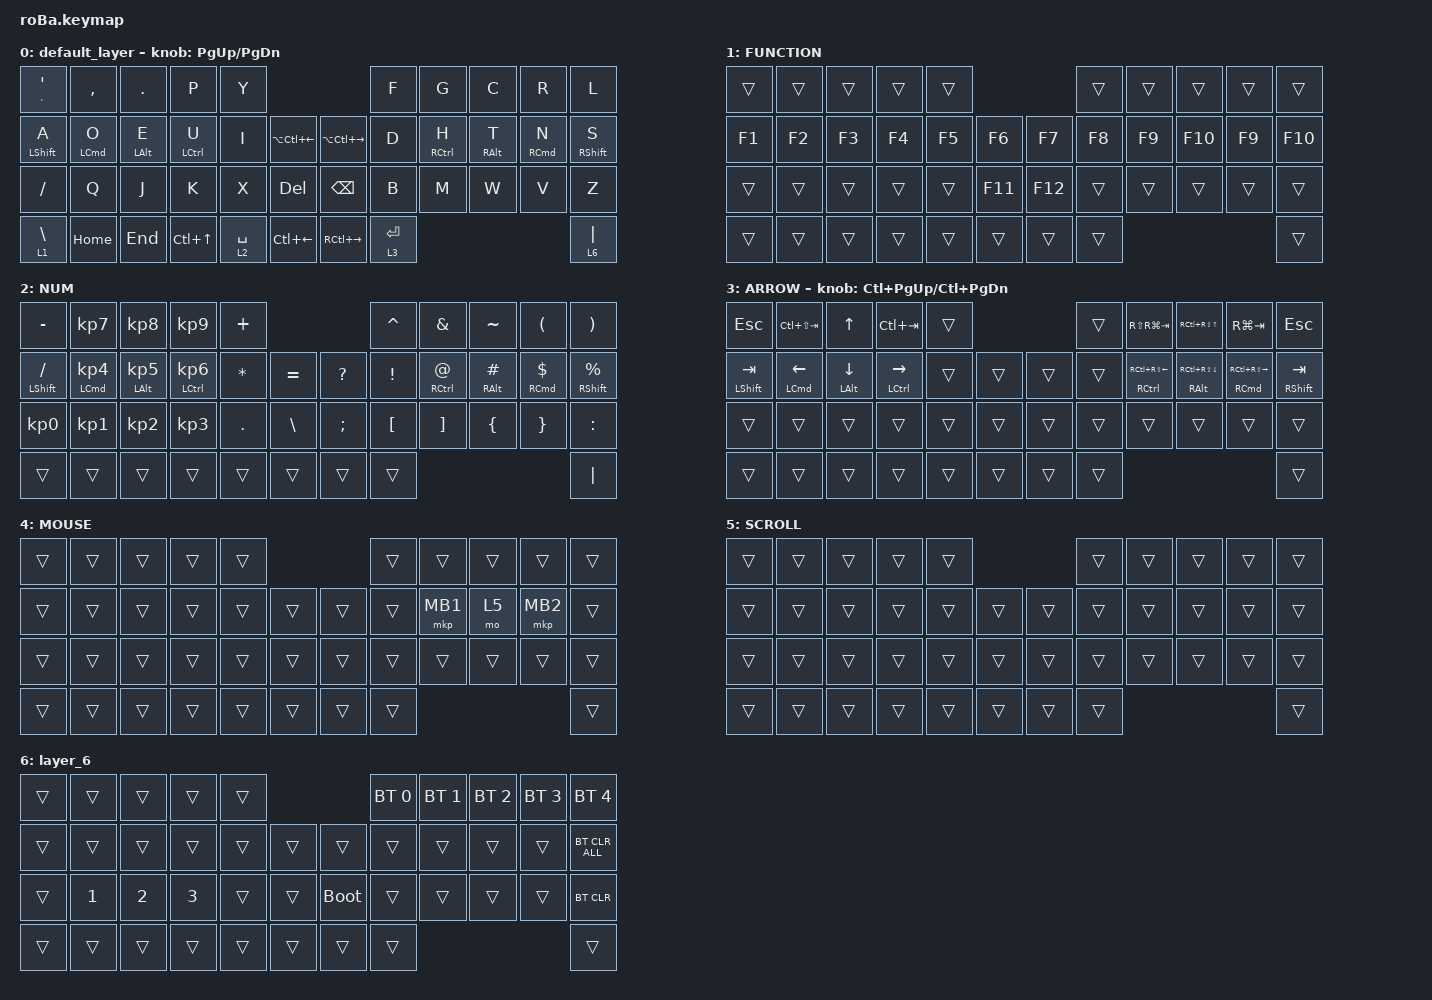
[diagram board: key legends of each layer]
#include <behaviors.dtsi>
#include <dt-bindings/zmk/bt.h>
#include <dt-bindings/zmk/keys.h>
#include <dt-bindings/zmk/pointing.h>

&trackball {
    automouse-layer = <4>;
    scroll-layers = <5>;

    // arrows {
    //     layers = <3>;
    //     bindings =
    //         <&kp RIGHT_ARROW>,
    //         <&kp LEFT_ARROW>,
    //         <&kp UP_ARROW>,
    //         <&kp DOWN_ARROW>;
    //     tick = <10>;
    //     wait-ms = <5>;
    //     tap-ms = <5>;
    // };
};

&mt {
    flavor = "tap-preferred";
    tapping-term-ms = <125>;
};

/ {
    combos {
        compatible = "zmk,combos";

        eq {
            bindings = <&kp EQUAL>;
            key-positions = <24 25>;
        };
    };

    keymap {
        compatible = "zmk,keymap";

        default_layer {
            bindings = <
&mt GRAVE APOS    &kp COMMA           &kp DOT         &kp P               &kp Y                                                         &kp F        &kp G                &kp C            &kp R                &kp L
&mt LEFT_SHIFT A  &mt LEFT_COMMAND O  &mt LEFT_ALT E  &mt LEFT_CONTROL U  &kp I        &kp LA(LC(LEFT_ARROW))      &kp LA(LC(RIGHT))    &kp D        &mt RIGHT_CONTROL H  &mt RIGHT_ALT T  &mt RIGHT_COMMAND N  &mt RIGHT_SHIFT S
&kp SLASH         &kp Q               &kp J           &kp K               &kp X        &kp DELETE                  &kp BACKSPACE        &kp B        &kp M                &kp W            &kp V                &kp Z
&lt 1 BACKSLASH   &kp HOME            &kp END         &kp LC(UP_ARROW)    &lt 2 SPACE  &kp LC(LEFT_ARROW)          &kp RC(RIGHT_ARROW)  &lt 3 ENTER                                                             &lt 6 PIPE
            >;

            sensor-bindings = <&inc_dec_kp PG_UP PAGE_DOWN>;
        };

        FUNCTION {
            bindings = <
&trans  &trans  &trans  &trans  &trans                        &trans  &trans  &trans   &trans  &trans
&kp F1  &kp F2  &kp F3  &kp F4  &kp F5  &kp F6       &kp F7   &kp F8  &kp F9  &kp F10  &kp F9  &kp F10
&trans  &trans  &trans  &trans  &trans  &kp F11      &kp F12  &trans  &trans  &trans   &trans  &trans
&trans  &trans  &trans  &trans  &trans  &trans       &trans   &trans                           &trans
            >;
        };

        NUM {
            bindings = <
&kp MINUS             &kp KP_NUMBER_7               &kp KP_NUMBER_8           &kp KP_NUMBER_9               &kp PLUS                                        &kp CARET         &kp AMPERSAND              &kp TILDE           &kp LEFT_PARENTHESIS      &kp RIGHT_PARENTHESIS
&mt LEFT_SHIFT SLASH  &mt LEFT_COMMAND KP_NUMBER_4  &mt LEFT_ALT KP_NUMBER_5  &mt LEFT_CONTROL KP_NUMBER_6  &kp ASTERISK  &kp EQUAL          &kp QUESTION   &kp EXCLAMATION   &mt RIGHT_CONTROL AT_SIGN  &mt RIGHT_ALT HASH  &mt RIGHT_COMMAND DOLLAR  &mt RIGHT_SHIFT PERCENT
&kp KP_N0             &kp KP_NUMBER_1               &kp KP_NUMBER_2           &kp KP_NUMBER_3               &kp PERIOD    &kp BACKSLASH      &kp SEMICOLON  &kp LEFT_BRACKET  &kp RIGHT_BRACKET          &kp LEFT_BRACE      &kp RIGHT_BRACE           &kp COLON
&trans                &trans                        &trans                    &trans                        &trans        &trans             &trans         &trans                                                                                     &kp PIPE
            >;
        };

        ARROW {
            bindings = <
&kp ESCAPE          &kp LC(LS(TAB))        &kp UP_ARROW             &kp LC(TAB)                   &trans                      &trans  &kp RS(RG(TAB))                       &kp RC(RS(UP_ARROW))              &kp RG(TAB)                            &kp ESC
&mt LEFT_SHIFT TAB  &mt LEFT_COMMAND LEFT  &mt LEFT_ALT DOWN_ARROW  &mt LEFT_CONTROL RIGHT_ARROW  &trans  &trans      &trans  &trans  &mt RIGHT_CONTROL RC(RS(LEFT_ARROW))  &mt RIGHT_ALT RC(RS(DOWN_ARROW))  &mt RIGHT_COMMAND RC(RS(RIGHT_ARROW))  &mt RIGHT_SHIFT TAB
&trans              &trans                 &trans                   &trans                        &trans  &trans      &trans  &trans  &trans                                &trans                            &trans                                 &trans
&trans              &trans                 &trans                   &trans                        &trans  &trans      &trans  &trans                                                                                                                 &trans
            >;

            sensor-bindings = <&inc_dec_kp LC(PAGE_UP) LC(PAGE_DOWN)>;
        };

        MOUSE {
            bindings = <
&trans  &trans  &trans  &trans  &trans                      &trans  &trans    &trans  &trans    &trans
&trans  &trans  &trans  &trans  &trans  &trans      &trans  &trans  &mkp MB1  &mo 5   &mkp MB2  &trans
&trans  &trans  &trans  &trans  &trans  &trans      &trans  &trans  &trans    &trans  &trans    &trans
&trans  &trans  &trans  &trans  &trans  &trans      &trans  &trans                              &trans
            >;
        };

        SCROLL {
            bindings = <
&trans  &trans  &trans  &trans  &trans                      &trans  &trans  &trans  &trans  &trans
&trans  &trans  &trans  &trans  &trans  &trans      &trans  &trans  &trans  &trans  &trans  &trans
&trans  &trans  &trans  &trans  &trans  &trans      &trans  &trans  &trans  &trans  &trans  &trans
&trans  &trans  &trans  &trans  &trans  &trans      &trans  &trans                          &trans
            >;
        };

        layer_6 {
            bindings = <
&trans  &trans        &trans        &trans        &trans                           &bt BT_SEL 0  &bt BT_SEL 1  &bt BT_SEL 2  &bt BT_SEL 3  &bt BT_SEL 4
&trans  &trans        &trans        &trans        &trans  &trans      &trans       &trans        &trans        &trans        &trans        &bt BT_CLR_ALL
&trans  &kp NUMBER_1  &kp NUMBER_2  &kp NUMBER_3  &trans  &trans      &bootloader  &trans        &trans        &trans        &trans        &bt BT_CLR
&trans  &trans        &trans        &trans        &trans  &trans      &trans       &trans                                                  &trans
            >;
        };
    };
};
